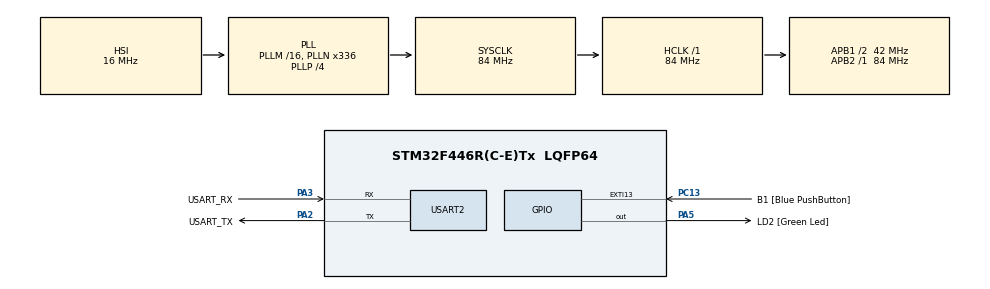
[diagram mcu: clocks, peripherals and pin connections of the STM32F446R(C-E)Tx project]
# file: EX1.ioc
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Mcu.Family=STM32F4
Mcu.Name=STM32F446R(C-E)Tx
Mcu.Package=LQFP64
NVIC.PriorityGroup=NVIC_PRIORITYGROUP_0
PA13.GPIO_Label=TMS
PA13.Mode=Serial_Wire
PA13.Signal=SYS_JTMS-SWDIO
PA14.GPIO_Label=TCK
PA14.Mode=Serial_Wire
PA14.Signal=SYS_JTCK-SWCLK
PA2.GPIO_Label=USART_TX
PA2.Mode=Asynchronous
PA2.Signal=USART2_TX
PA3.GPIO_Label=USART_RX
PA3.Mode=Asynchronous
PA3.Signal=USART2_RX
PA5.GPIO_Label=LD2 [Green Led]
PA5.Signal=GPIO_Output
PB3.GPIO_Label=SWO
PB3.Signal=SYS_JTDO-SWO
PC13.GPIO_Label=B1 [Blue PushButton]
PC13.GPIO_ModeDefaultEXTI=GPIO_MODE_IT_FALLING
PC13.Signal=GPXTI13
PC14-OSC32_IN.Mode=LSE-External-Oscillator
PC14-OSC32_IN.Signal=RCC_OSC32_IN
PC15-OSC32_OUT.Mode=LSE-External-Oscillator
PC15-OSC32_OUT.Signal=RCC_OSC32_OUT
PH0-OSC_IN.Mode=HSE-External-Oscillator
PH0-OSC_IN.Signal=RCC_OSC_IN
PH1-OSC_OUT.Mode=HSE-External-Oscillator
PH1-OSC_OUT.Signal=RCC_OSC_OUT
ProjectManager.HeapSize=0x200
ProjectManager.StackSize=0x400
ProjectManager.TargetToolchain=STM32CubeIDE
RCC.48MHZClocksFreq_Value=84000000
RCC.AHBFreq_Value=84000000
RCC.APB1CLKDivider=RCC_HCLK_DIV2
RCC.APB1Freq_Value=42000000
RCC.APB1TimFreq_Value=84000000
RCC.APB2Freq_Value=84000000
RCC.APB2TimFreq_Value=84000000
RCC.CortexFreq_Value=84000000
RCC.FLatency-AdvancedSettings=FLASH_LATENCY_2
RCC.HCLKFreq_Value=84000000
RCC.HSE_VALUE=8000000
RCC.HSI_VALUE=16000000
RCC.PLLN=336
RCC.PLLP=RCC_PLLP_DIV4
RCC.SYSCLKFreq_VALUE=84000000
RCC.SYSCLKSource=RCC_SYSCLKSOURCE_PLLCLK
RCC.USBFreq_Value=168000000
RCC.VCOOutputFreq_Value=336000000
USART2.VirtualMode=VM_ASYNC
board=NUCLEO-F446RE

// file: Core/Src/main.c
/* USER CODE BEGIN Header */
/**
  ******************************************************************************
  * @file           : main.c
  * @brief          : Main program body
  ******************************************************************************
  * @attention
  *
  * Copyright (c) 2024 STMicroelectronics.
  * All rights reserved.
  *
  * This software is licensed under terms that can be found in the LICENSE file
  * in the root directory of this software component.
  * If no LICENSE file comes with this software, it is provided AS-IS.
  *
  ******************************************************************************
  */
/* USER CODE END Header */
#include "main.h"

/* USER CODE BEGIN PM */

#define MAX(a, b)	( a > b ) ? a : b

#define MAX3(a, b, c)	MAX( MAX(a, b), c)

/* USER CODE END PM */

UART_HandleTypeDef huart2;

void SystemClock_Config(void);
static void MX_GPIO_Init(void);
static void MX_USART2_UART_Init(void);

/* USER CODE BEGIN 0 */
void set_bit( uint32_t * reg, int bit_num ){
	  reg[0] |= ( 0x01 << bit_num );
}

void reset_bit( uint32_t * reg, int bit_num ){
	  reg[0] &= ~( 0x01 << bit_num );
}

/* USER CODE END 0 */

int main(void)
{

  /* MCU Configuration--------------------------------------------------------*/

  /* Reset of all peripherals, Initializes the Flash interface and the Systick. */
  HAL_Init();

  /* Configure the system clock */
  SystemClock_Config();

  /* Initialize all configured peripherals */
  MX_GPIO_Init();
  MX_USART2_UART_Init();
  /* USER CODE BEGIN 2 */

  // ex1. invert byte orders 0xCC8700FC -> 0xFC0087CC

  uint32_t var1 = 0xCC8700FC ;
  uint32_t var2 = 0 ;

  uint8_t temp ;
  int i;

  for(i = 0 ; i < 4 ; i++){
	  temp = (var1 >> i*8) & 0xFF ;
	  var2 |= (temp << (3-i)*8) ;
  }

  // worse way of doing it:

  /*
  uint32_t temp1 = var1 & 0x000000FF ; 		// 0x000000FC
  uint32_t temp2 = var1 & 0xFF000000 ;		// 0xCC000000

  var2 &= 0xFFFFFF00 ;
  var2 |= ( temp2 >> 6*4 ) ;

  var2 &= 0x00FFFFFF ;
  var2 |= ( temp1 << 6*4 ) ;

  temp1 = var1 & 0x0000FF00 ;
  temp2 = var1 & 0x00FF0000 ;

  var2 &= 0xFFFF00FF ;
  var2 |= ( temp2 >> 2*4 ) ;

  var2 &= 0xFF00FFFF ;
  var2 |= ( temp1 << 2*4 ) ;
   */

  // ex2 . write a set and a reset logic for a 32 bit variable

  uint32_t reg = 0xCD0E ;

  set_bit( &reg, 7 );

  reset_bit( &reg, 7 );

  // ex3 . write a macro to find de largest of 3 numbers
  int res = MAX3(440, 66, 88) ;

  // ex4 . swap 2 number without using an extra variable
  int a = 10 ;
  int b = 30 ;

  a = a + b ;
  b = a - b ;
  a = a - b ;

  /* USER CODE END 2 */

  /* Infinite loop */
  while (1)
  {

  }
}

void SystemClock_Config(void)
{
  RCC_OscInitTypeDef RCC_OscInitStruct = {0};
  RCC_ClkInitTypeDef RCC_ClkInitStruct = {0};

  /** Configure the main internal regulator output voltage
  */
  __HAL_RCC_PWR_CLK_ENABLE();
  __HAL_PWR_VOLTAGESCALING_CONFIG(PWR_REGULATOR_VOLTAGE_SCALE3);

  /** Initializes the RCC Oscillators according to the specified parameters
  * in the RCC_OscInitTypeDef structure.
  */
  RCC_OscInitStruct.OscillatorType = RCC_OSCILLATORTYPE_HSI;
  RCC_OscInitStruct.HSIState = RCC_HSI_ON;
  RCC_OscInitStruct.HSICalibrationValue = RCC_HSICALIBRATION_DEFAULT;
  RCC_OscInitStruct.PLL.PLLState = RCC_PLL_ON;
  RCC_OscInitStruct.PLL.PLLSource = RCC_PLLSOURCE_HSI;
  RCC_OscInitStruct.PLL.PLLM = 16;
  RCC_OscInitStruct.PLL.PLLN = 336;
  RCC_OscInitStruct.PLL.PLLP = RCC_PLLP_DIV4;
  RCC_OscInitStruct.PLL.PLLQ = 2;
  RCC_OscInitStruct.PLL.PLLR = 2;
  if (HAL_RCC_OscConfig(&RCC_OscInitStruct) != HAL_OK)
  {
    Error_Handler();
  }

  /** Initializes the CPU, AHB and APB buses clocks
  */
  RCC_ClkInitStruct.ClockType = RCC_CLOCKTYPE_HCLK|RCC_CLOCKTYPE_SYSCLK
                              |RCC_CLOCKTYPE_PCLK1|RCC_CLOCKTYPE_PCLK2;
  RCC_ClkInitStruct.SYSCLKSource = RCC_SYSCLKSOURCE_PLLCLK;
  RCC_ClkInitStruct.AHBCLKDivider = RCC_SYSCLK_DIV1;
  RCC_ClkInitStruct.APB1CLKDivider = RCC_HCLK_DIV2;
  RCC_ClkInitStruct.APB2CLKDivider = RCC_HCLK_DIV1;

  if (HAL_RCC_ClockConfig(&RCC_ClkInitStruct, FLASH_LATENCY_2) != HAL_OK)
  {
    Error_Handler();
  }
}

static void MX_USART2_UART_Init(void)
{

  huart2.Instance = USART2;
  huart2.Init.BaudRate = 115200;
  huart2.Init.WordLength = UART_WORDLENGTH_8B;
  huart2.Init.StopBits = UART_STOPBITS_1;
  huart2.Init.Parity = UART_PARITY_NONE;
  huart2.Init.Mode = UART_MODE_TX_RX;
  huart2.Init.HwFlowCtl = UART_HWCONTROL_NONE;
  huart2.Init.OverSampling = UART_OVERSAMPLING_16;
  if (HAL_UART_Init(&huart2) != HAL_OK)
  {
    Error_Handler();
  }

}

static void MX_GPIO_Init(void)
{
  GPIO_InitTypeDef GPIO_InitStruct = {0};

  /* GPIO Ports Clock Enable */
  __HAL_RCC_GPIOC_CLK_ENABLE();
  __HAL_RCC_GPIOH_CLK_ENABLE();
  __HAL_RCC_GPIOA_CLK_ENABLE();
  __HAL_RCC_GPIOB_CLK_ENABLE();

  /*Configure GPIO pin Output Level */
  HAL_GPIO_WritePin(LD2_GPIO_Port, LD2_Pin, GPIO_PIN_RESET);

  /*Configure GPIO pin : B1_Pin */
  GPIO_InitStruct.Pin = B1_Pin;
  GPIO_InitStruct.Mode = GPIO_MODE_IT_FALLING;
  GPIO_InitStruct.Pull = GPIO_NOPULL;
  HAL_GPIO_Init(B1_GPIO_Port, &GPIO_InitStruct);

  /*Configure GPIO pin : LD2_Pin */
  GPIO_InitStruct.Pin = LD2_Pin;
  GPIO_InitStruct.Mode = GPIO_MODE_OUTPUT_PP;
  GPIO_InitStruct.Pull = GPIO_NOPULL;
  GPIO_InitStruct.Speed = GPIO_SPEED_FREQ_LOW;
  HAL_GPIO_Init(LD2_GPIO_Port, &GPIO_InitStruct);

}

void Error_Handler(void)
{
  __disable_irq();
  while (1)
  {
  }
}
